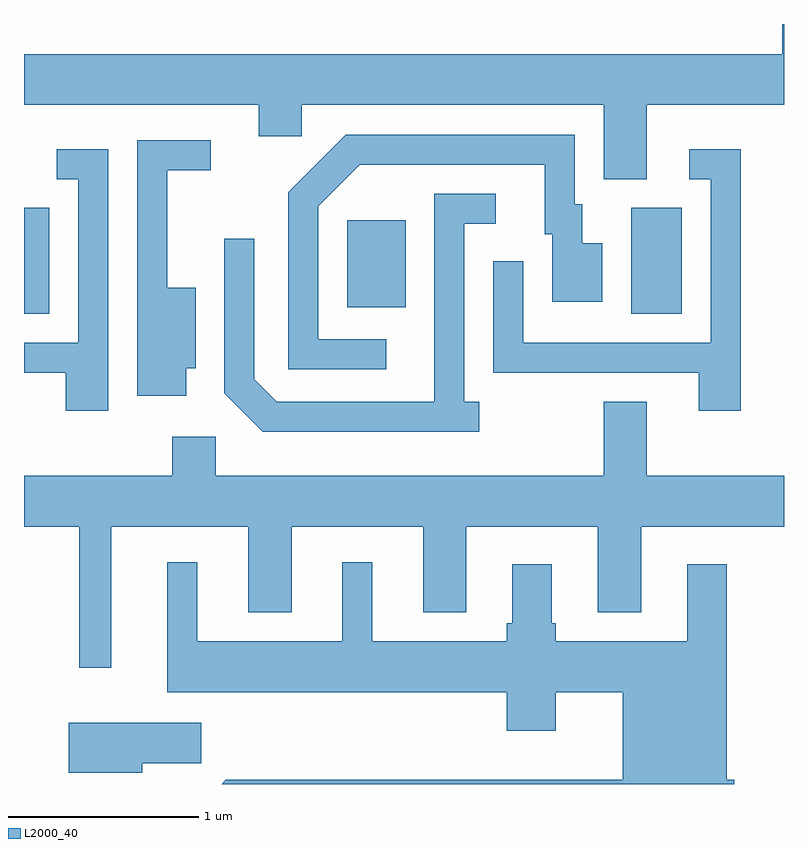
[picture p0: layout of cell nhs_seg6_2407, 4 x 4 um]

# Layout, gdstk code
import gdstk
lib = gdstk.Library(unit=1e-6, precision=1e-09)
def R(c, l, rs):  # rectangles x0, y0, x1, y1
    for r in rs: c.add(gdstk.rectangle(r[:2], r[2:], *l))
def P(c, l, *ps):  # polygons
    for p in ps: c.add(gdstk.Polygon(p, *l))
L2000_40 = (2000, 40)

nhs_seg6_2407 = lib.new_cell('nhs_seg6_2407')
R(nhs_seg6_2407, L2000_40, [(257.611,1626.636,257.744,1627.194), (260.806,1626.636,261.074,1627.194), (259.311,1626.671,259.619,1627.129), (257.631,1628.161,258.973,1628.162)])
P(nhs_seg6_2407, L2000_40, [(260.889,1627.736),(261.611,1627.736),(261.611,1628.162),(261.601,1628.162),(261.601,1628.004),(257.611,1628.004),(257.611,1627.736),(258.846,1627.736),(258.846,1627.571),(259.074,1627.571),(259.074,1627.736),(260.661,1627.736),(260.661,1627.346),(260.889,1627.346)],
  [(259.517,1626.504),(259.159,1626.504),(259.159,1627.204),(259.377,1627.421),(260.351,1627.421),(260.351,1627.056),(260.391,1627.056),(260.391,1626.701),(260.654,1626.701),(260.654,1627.009),(260.549,1627.009),(260.549,1627.214),(260.509,1627.214),(260.509,1627.579),(259.304,1627.579),(259.001,1627.277),(259.001,1626.346),(259.517,1626.346)],
  [(258.464,1626.351),(258.514,1626.351),(258.514,1626.774),(258.364,1626.774),(258.364,1627.391),(258.593,1627.391),(258.593,1627.549),(258.206,1627.549),(258.206,1626.206),(258.464,1626.206)],
  [(261.384,1627.504),(261.113,1627.504),(261.113,1627.346),(261.226,1627.346),(261.226,1626.484),(260.239,1626.484),(260.239,1626.913),(260.081,1626.913),(260.081,1626.326),(261.161,1626.326),(261.161,1626.126),(261.384,1626.126)],
  [(258.054,1627.504),(257.783,1627.504),(257.783,1627.346),(257.896,1627.346),(257.896,1626.484),(257.611,1626.484),(257.611,1626.326),(257.831,1626.326),(257.831,1626.126),(258.054,1626.126)],
  [(260.008,1626.174),(259.929,1626.174),(259.929,1627.111),(260.093,1627.111),(260.093,1627.269),(259.771,1627.269),(259.771,1626.174),(258.942,1626.174),(258.824,1626.292),(258.824,1627.033),(258.666,1627.033),(258.666,1626.219),(258.868,1626.016),(260.008,1626.016)],
  [(258.069,1625.516),(258.791,1625.516),(258.791,1625.066),(259.019,1625.066),(259.019,1625.516),(259.711,1625.516),(259.711,1625.066),(259.939,1625.066),(259.939,1625.516),(260.631,1625.516),(260.631,1625.066),(260.859,1625.066),(260.859,1625.516),(261.611,1625.516),(261.611,1625.784),(260.889,1625.784),(260.889,1626.174),(260.661,1626.174),(260.661,1625.784),(258.619,1625.784),(258.619,1625.989),(258.391,1625.989),(258.391,1625.784),(257.611,1625.784),(257.611,1625.516),(257.901,1625.516),(257.901,1624.773),(258.069,1624.773)],
  [(261.349,1624.184),(261.309,1624.184),(261.309,1625.319),(261.101,1625.319),(261.101,1624.914),(260.409,1624.914),(260.409,1625.009),(260.389,1625.009),(260.389,1625.319),(260.181,1625.319),(260.181,1625.009),(260.151,1625.009),(260.151,1624.914),(259.444,1624.914),(259.444,1625.328),(259.286,1625.328),(259.286,1624.914),(258.524,1624.914),(258.524,1625.328),(258.366,1625.328),(258.366,1624.646),(260.151,1624.646),(260.151,1624.441),(260.409,1624.441),(260.409,1624.646),(260.761,1624.646),(260.761,1624.184),(258.674,1624.184),(258.652,1624.162),(261.349,1624.162)],
  [(258.234,1624.271),(258.544,1624.271),(258.544,1624.484),(257.846,1624.484),(257.846,1624.221),(258.234,1624.221)])

lib.write_gds('nhs_seg6_2407.gds')
